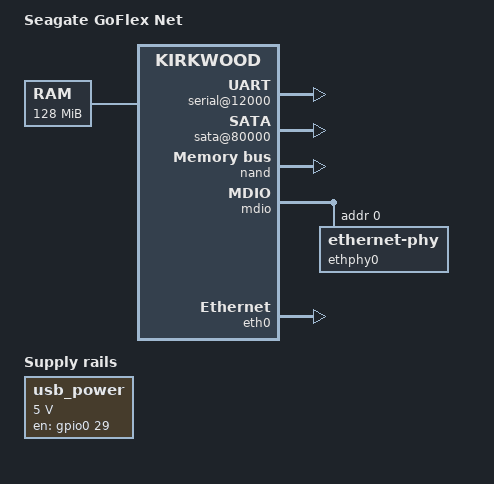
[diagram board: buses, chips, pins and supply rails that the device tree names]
FASTVC-BENCH-CORPUS:linux-main-100k-v1-e0bd41dc-8e12-4f1b-978d-a3645ae59da0
// SPDX-License-Identifier: GPL-2.0
/dts-v1/;

#include "kirkwood.dtsi"
#include "kirkwood-6281.dtsi"

/ {
	model = "Seagate GoFlex Net";
	compatible = "seagate,goflexnet", "marvell,kirkwood-88f6281", "marvell,kirkwood";

	memory {
		device_type = "memory";
		reg = <0x00000000 0x8000000>;
	};

	chosen {
		bootargs = "console=ttyS0,115200n8 earlyprintk root=/dev/sda1 rootdelay=10";
		stdout-path = &uart0;
	};
/* bench 15184.1.0 6793eee269a8 */
/* bench 15184.1.1 c99b9166c997 */
/* bench 15184.1.2 1e3d07526e37 */
/* bench 15184.1.3 0bcdcb87c2f6 */
		pinctrl: pin-controller@10000 {
			pmx_usb_power_enable: pmx-usb-power-enable {
				marvell,pins = "mpp29";
				marvell,function = "gpio";
			};
			pmx_led_right_cap_0: pmx-led_right_cap_0 {
				marvell,pins = "mpp38";
				marvell,function = "gpio";
			};
			pmx_led_right_cap_1: pmx-led_right_cap_1 {
				marvell,pins = "mpp39";
				marvell,function = "gpio";
			};
			pmx_led_right_cap_2: pmx-led_right_cap_2 {
				marvell,pins = "mpp40";
				marvell,function = "gpio";
			};
			pmx_led_right_cap_3: pmx-led_right_cap_3 {
				marvell,pins = "mpp41";
				marvell,function = "gpio";
			};
			pmx_led_left_cap_0: pmx-led_left_cap_0 {
				marvell,pins = "mpp42";
				marvell,function = "gpio";
			};
			pmx_led_left_cap_1: pmx-led_left_cap_1 {
				marvell,pins = "mpp43";
				marvell,function = "gpio";
			};
			pmx_led_left_cap_2: pmx-led_left_cap_2 {
				marvell,pins = "mpp44";
				marvell,function = "gpio";
			};
			pmx_led_left_cap_3: pmx-led_left_cap_3 {
				marvell,pins = "mpp45";
				marvell,function = "gpio";
			};
			pmx_led_green: pmx-led_green {
				marvell,pins = "mpp46";
				marvell,function = "gpio";
			};
			pmx_led_orange: pmx-led_orange {
				marvell,pins = "mpp47";
				marvell,function = "gpio";
			};
		};
		serial@12000 {
			status = "okay";
		};

		sata@80000 {
			status = "okay";
			nr-ports = <2>;
		};

	};
	gpio-leds {
		compatible = "gpio-leds";
		pinctrl-0 = < &pmx_led_orange
			      &pmx_led_left_cap_0 &pmx_led_left_cap_1
			      &pmx_led_left_cap_2 &pmx_led_left_cap_3
			      &pmx_led_right_cap_0 &pmx_led_right_cap_1
			      &pmx_led_right_cap_2 &pmx_led_right_cap_3
/* bench 26341.1.0 92a98d410549 */
/* bench 26341.1.1 b607cf0c3772 */
/* bench 26341.1.2 0ec4b0ff3f4a */
/* bench 26341.1.3 db8e2a72266c */
/* bench 26341.1.4 e04e5e04f0be */
/* bench 26341.1.5 4b9cd075be1a */
/* bench 26341.1.6 348413de8c1a */
/* bench 26341.1.7 5711cbed8901 */
		pinctrl-names = "default";

		health {
			label = "status:green:health";
			gpios = <&gpio1 14 GPIO_ACTIVE_LOW>;
			default-state = "keep";
		};
		fault {
			label = "status:orange:fault";
			gpios = <&gpio1 15 GPIO_ACTIVE_LOW>;
		};
		left0 {
			label = "status:white:left0";
			gpios = <&gpio1 10 GPIO_ACTIVE_HIGH>;
		};
		left1 {
			label = "status:white:left1";
			gpios = <&gpio1 11 GPIO_ACTIVE_HIGH>;
		};
		left2 {
			label = "status:white:left2";
			gpios = <&gpio1 12 GPIO_ACTIVE_HIGH>;
		};
		left3 {
			label = "status:white:left3";
			gpios = <&gpio1 13 GPIO_ACTIVE_HIGH>;
		};
		right0 {
			label = "status:white:right0";
			gpios = <&gpio1 6 GPIO_ACTIVE_HIGH>;
		};
		right1 {
			label = "status:white:right1";
			gpios = <&gpio1 7 GPIO_ACTIVE_HIGH>;
		};
		right2 {
			label = "status:white:right2";
			gpios = <&gpio1 8 GPIO_ACTIVE_HIGH>;
		};
		right3 {
			label = "status:white:right3";
			gpios = <&gpio1 9 GPIO_ACTIVE_HIGH>;
		};
	};
	regulators {
		compatible = "simple-bus";
		#address-cells = <1>;
		#size-cells = <0>;
		pinctrl-0 = <&pmx_usb_power_enable>;
		pinctrl-names = "default";

		usb_power: regulator@1 {
			compatible = "regulator-fixed";
			reg = <1>;
			regulator-name = "USB Power";
			regulator-min-microvolt = <5000000>;
			regulator-max-microvolt = <5000000>;
			enable-active-high;
			regulator-always-on;
			regulator-boot-on;
			gpio = <&gpio0 29 GPIO_ACTIVE_HIGH>;
		};
	};
};

&nand {
	chip-delay = <40>;
	status = "okay";

	partition@0 {
		label = "u-boot";
		reg = <0x0000000 0x100000>;
		read-only;
	};

	partition@100000 {
		label = "uImage";
		reg = <0x0100000 0x400000>;
	};

	partition@500000 {
		label = "pogoplug";
		reg = <0x0500000 0x2000000>;
	};

	partition@2500000 {
		label = "root";
		reg = <0x02500000 0xd800000>;
/* bench 15539.1.0 88c987256912 */
/* bench 15539.1.1 d850b1380b38 */
/* bench 15539.1.2 35cfdbf070f7 */
/* bench 15539.1.3 ed51c74a5442 */
	};
};

&mdio {
	status = "okay";
/* bench 15353.1.0 a96ab528cca9 */
/* bench 15353.1.1 4d334e3cc284 */
/* bench 15353.1.2 a734fb590bbc */
/* bench 15353.1.3 c061e2ae95f3 */
/* bench 15353.1.4 e25bef6f6ee0 */
/* bench 15353.1.5 d07ef82970a4 */
/* bench 15353.1.6 d96b8dbed1fc */
	ethphy0: ethernet-phy@0 {
		reg = <0>;
	};
};

&eth0 {
	status = "okay";
	ethernet0-port@0 {
		phy-handle = <&ethphy0>;
	};
};
